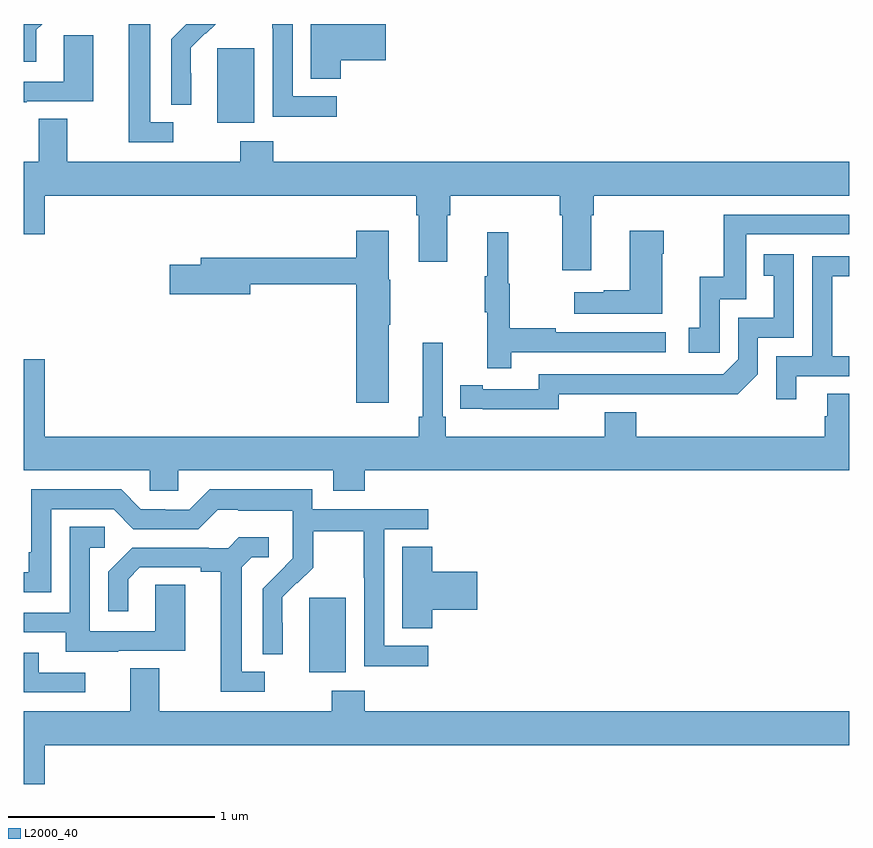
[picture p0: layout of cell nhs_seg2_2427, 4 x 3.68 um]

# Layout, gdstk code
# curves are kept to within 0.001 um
import gdstk
lib = gdstk.Library(unit=1e-6, precision=1e-09)
def R(c, l, rs):  # rectangles x0, y0, x1, y1
    for r in rs: c.add(gdstk.rectangle(r[:2], r[2:], *l))
def P(c, l, *ps):  # polygons
    for p in ps: c.add(gdstk.Polygon(p, *l))
L2000_40 = (2000, 40)

nhs_seg2_2427 = lib.new_cell('nhs_seg2_2427')
R(nhs_seg2_2427, L2000_40, [(238.382,646.658,238.561,647.019), (237.938,649.322,238.117,649.683)])
P(nhs_seg2_2427, L2000_40, [(237.061,649.773),(237.088,649.8),(237,649.8),(237,649.617),(237.061,649.617)],
  [(237.724,649.323),(237.613,649.323),(237.613,649.8),(237.509,649.8),(237.509,649.227),(237.724,649.227)],
  [(238.535,649.625),(238.753,649.625),(238.753,649.8),(238.391,649.8),(238.391,649.534),(238.535,649.534)],
  [(237.81,649.562),(237.809,649.562),(237.809,649.685),(237.879,649.755),(237.882,649.752),(237.93,649.8),(237.786,649.8),(237.787,649.799),(237.714,649.726),(237.714,649.408),(237.81,649.408)],
  [(238.516,649.449),(238.302,649.449),(238.302,649.8),(238.204,649.8),(238.204,649.78),(238.206,649.78),(238.206,649.351),(238.516,649.351)],
  [(237.013,649.425),(237.337,649.425),(237.337,649.745),(237.192,649.745),(237.192,649.521),(237,649.521),(237,649.421),(237.013,649.421)],
  [(239.749,648.872),(239.762,648.872),(239.762,648.968),(241,648.968),(241,649.132),(238.208,649.132),(238.208,649.231),(238.048,649.231),(238.048,649.132),(237.211,649.132),(237.211,649.34),(237.071,649.34),(237.071,649.132),(237,649.132),(237,648.78),(237.1,648.78),(237.1,648.968),(238.901,648.968),(238.901,648.872),(238.913,648.872),(238.913,648.648),(239.053,648.648),(239.053,648.872),(239.066,648.872),(239.066,648.968),(239.597,648.968),(239.597,648.872),(239.609,648.872),(239.609,648.606),(239.749,648.606)],
  [(240.372,648.465),(240.501,648.465),(240.501,648.78),(241,648.78),(241,648.876),(240.393,648.876),(240.393,648.574),(240.275,648.574),(240.275,648.327),(240.222,648.327),(240.222,648.207),(240.372,648.207)],
  [(240.094,648.686),(240.102,648.686),(240.102,648.799),(239.936,648.799),(239.936,648.509),(239.81,648.509),(239.81,648.499),(239.667,648.499),(239.667,648.395),(240.094,648.395)],
  [(238.768,648.343),(238.776,648.343),(238.776,648.561),(238.768,648.561),(238.768,648.799),(238.61,648.799),(238.61,648.667),(237.857,648.667),(237.857,648.633),(237.708,648.633),(237.708,648.491),(238.096,648.491),(238.096,648.538),(238.61,648.538),(238.61,647.964),(238.768,647.964)],
  [(239.363,648.21),(240.112,648.21),(240.112,648.306),(239.579,648.306),(239.579,648.326),(239.356,648.326),(239.356,648.54),(239.348,648.54),(239.348,648.79),(239.246,648.79),(239.246,648.577),(239.235,648.577),(239.235,648.403),(239.246,648.403),(239.246,648.132),(239.363,648.132)],
  [(239.592,648.006),(240.46,648.005),(240.558,648.102),(240.558,648.279),(240.732,648.279),(240.732,648.685),(240.586,648.685),(240.586,648.579),(240.635,648.579),(240.635,648.375),(240.462,648.375),(240.462,648.174),(240.39,648.102),(239.496,648.102),(239.496,648.03),(239.224,648.03),(239.224,648.05),(239.116,648.05),(239.116,647.934),(239.592,647.933)],
  [(240.745,648.093),(241,648.093),(241,648.189),(240.918,648.189),(240.918,648.578),(241,648.578),(241,648.675),(240.822,648.675),(240.822,648.189),(240.648,648.189),(240.648,647.982),(240.745,647.982)],
  [(237.1,648.175),(237,648.175),(237,647.636),(237.609,647.636),(237.609,647.538),(237.747,647.538),(237.747,647.636),(238.499,647.636),(238.499,647.537),(238.652,647.537),(238.652,647.636),(241,647.636),(241,648.008),(240.893,648.008),(240.893,647.898),(240.881,647.898),(240.881,647.8),(239.969,647.8),(239.969,647.917),(239.816,647.917),(239.816,647.8),(239.045,647.8),(239.045,647.896),(239.031,647.896),(239.031,648.256),(238.934,648.256),(238.934,647.896),(238.915,647.896),(238.915,647.8),(237.1,647.8)],
  [(238.96,646.785),(238.746,646.785),(238.746,647.352),(238.96,647.352),(238.96,647.448),(238.398,647.448),(238.398,647.545),(237.901,647.545),(237.801,647.445),(237.686,647.445),(237.686,647.448),(237.567,647.448),(237.471,647.544),(237.036,647.544),(237.036,647.239),(237.023,647.239),(237.023,647.142),(237,647.142),(237,647.046),(237.132,647.046),(237.132,647.448),(237.435,647.448),(237.531,647.352),(237.846,647.352),(237.939,647.445),(238.039,647.445),(238.039,647.441),(238.302,647.441),(238.302,647.307),(238.304,647.307),(238.304,647.21),(238.158,647.062),(238.158,646.744),(238.254,646.744),(238.253,647.021),(238.323,647.091),(238.326,647.088),(238.403,647.165),(238.403,647.34),(238.648,647.34),(238.648,647.116),(238.65,647.116),(238.65,646.687),(238.96,646.687)],
  [(237.457,646.761),(237.781,646.761),(237.781,647.081),(237.636,647.081),(237.636,646.857),(237.318,646.857),(237.318,647.262),(237.391,647.262),(237.391,647.363),(237.222,647.363),(237.222,646.947),(237,646.947),(237,646.851),(237.203,646.851),(237.203,646.757),(237.457,646.757)],
  [(238.168,646.659),(238.057,646.659),(238.057,647.167),(238.104,647.214),(238.186,647.214),(238.186,647.311),(238.042,647.311),(237.99,647.259),(237.896,647.259),(237.896,647.262),(237.524,647.262),(237.408,647.146),(237.408,646.953),(237.505,646.953),(237.505,647.109),(237.562,647.166),(237.857,647.166),(237.857,647.144),(237.953,647.144),(237.953,646.563),(238.168,646.563)],
  [(238.979,646.961),(239.197,646.961),(239.197,647.144),(238.979,647.144),(238.979,647.267),(238.835,647.267),(238.835,646.87),(238.979,646.87)],
  [(237.298,646.656),(237.073,646.656),(237.073,646.752),(237,646.752),(237,646.56),(237.298,646.56)],
  [(237.1,646.304),(241,646.304),(241,646.468),(238.652,646.468),(238.652,646.567),(238.492,646.567),(238.492,646.468),(237.655,646.468),(237.655,646.676),(237.515,646.676),(237.515,646.468),(237,646.468),(237,646.116),(237.1,646.116)])

lib.write_gds('nhs_seg2_2427.gds')
